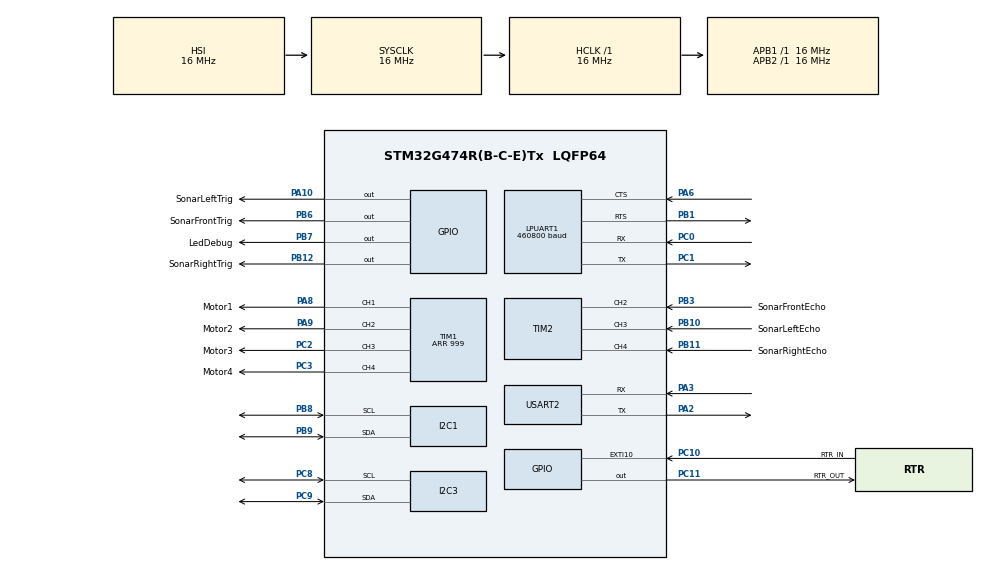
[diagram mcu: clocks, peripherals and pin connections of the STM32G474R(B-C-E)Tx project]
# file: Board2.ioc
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FREERTOS.Events01=flagsOS,Static,flagsOSControlBlock
FREERTOS.Mutexes01=controller_mutex,Static,controller_mutexControlBlock,Available;gyroscope_mutex,Static,gyroscope_mutexControlBlock,Available;sonar_left_mutex,Static,sonar_left_mutexControlBlock,Available;sonar_front_mutex,Static,sonar_front_mutexControlBlock,Available;sonar_right_mutex,Static,sonar_right_mutexControlBlock,Available;controller_read_mutex,Static,controller_read_mutexControlBlock,Available;gyroscope_read_mutex,Static,gyroscope_read_mutexControlBlock,Available;sonar_read_mutex,Static,sonar_read_mutexControlBlock,Available;controller_deadline_mutex,Static,controller_deadline_mutexControlBlock,Available;gyroscope_deadline_mutex,Static,gyroscope_deadline_mutexControlBlock,Available;sonar_deadline_mutex,Static,sonar_deadline_mutexControlBlock,Available;ps_deadline_mutex,Static,ps_deadline_mutexControlBlock,Available
FREERTOS.Tasks01=StartSegger,47,128,StartSeggerTask,Default,NULL,Static,StartSeggerBuffer,StartSeggerControlBlock;Synchronization,46,128,StartSynchronization,Default,NULL,Static,SynchronizationBuffer,SynchronizationControlBlock;PollingServer,45,2048,StartPollingServer,Default,NULL,Static,PollingServerBuffer,PollingServerControlBlock;ReadController,40,1024,StartReadController,Default,NULL,Static,ReadControllerBuffer,ReadControllerControlBlock;ReadGyroscope,32,1024,StartReadGyroscope,Default,NULL,Static,ReadGyroscopeBuffer,ReadGyroscopeControlBlock;Supervisor,24,2048,StartSupervisor,Default,NULL,Static,SupervisorBuffer,SupervisorControlBlock;SupervisorDeg,24,2048,StartSupervisorDeg,Default,NULL,Static,SupervisorDegBuffer,SupervisorDegControlBlock;ReadSonars,8,1024,StartReadSonars,Default,NULL,Static,ReadSonarsBuffer,ReadSonarsControlBlock
FREERTOS.Timers01=SonarMonitoring,SonarTimeout,osTimerOnce,Default,NULL,Static,SonarMonitoringControlBlock
FREERTOS.configUSE_NEWLIB_REENTRANT=1
I2C1.Speed=40
I2C1.Timing=0x005086FF
I2C3.Speed=40
I2C3.Timing=0x005086FF
LPUART1.BaudRate=460800
Mcu.Family=STM32G4
Mcu.Name=STM32G474R(B-C-E)Tx
Mcu.Package=LQFP64
NVIC.EXTI15_10_IRQn=true\:5\:0\:false\:false\:true\:true\:true\:true\:true
NVIC.I2C1_ER_IRQn=true\:5\:0\:false\:false\:true\:true\:true\:true\:true
NVIC.I2C1_EV_IRQn=true\:5\:0\:false\:false\:true\:true\:true\:true\:true
NVIC.I2C3_ER_IRQn=true\:5\:0\:false\:false\:true\:true\:true\:true\:true
NVIC.I2C3_EV_IRQn=true\:5\:0\:false\:false\:true\:true\:true\:true\:true
NVIC.LPUART1_IRQn=true\:5\:0\:false\:false\:true\:true\:true\:true\:true
NVIC.PriorityGroup=NVIC_PRIORITYGROUP_4
NVIC.TIM2_IRQn=true\:5\:0\:false\:false\:true\:true\:true\:true\:true
NVIC.TIM6_DAC_IRQn=true\:15\:0\:false\:false\:true\:false\:false\:true\:true
NVIC.TIM7_DAC_IRQn=true\:5\:0\:false\:false\:true\:true\:true\:true\:true
NVIC.TimeBase=TIM6_DAC_IRQn
NVIC.TimeBaseIP=TIM6
PA10.GPIO_Label=SonarLeftTrig
PA10.Signal=GPIO_Output
PA2.Mode=Asynchronous
PA2.Signal=USART2_TX
PA3.Mode=Asynchronous
PA3.Signal=USART2_RX
PA6.Mode=CTS_RTS
PA6.Signal=LPUART1_CTS
PA8.GPIO_Label=Motor1
PA8.Signal=S_TIM1_CH1
PA9.GPIO_Label=Motor2
PA9.Signal=S_TIM1_CH2
PB1.Mode=CTS_RTS
PB1.Signal=LPUART1_RTS
PB10.GPIO_Label=SonarLeftEcho
PB10.Signal=S_TIM2_CH3
PB11.GPIO_Label=SonarRightEcho
PB11.Signal=S_TIM2_CH4
PB12.GPIO_Label=SonarRightTrig
PB12.Signal=GPIO_Output
PB3.GPIO_Label=SonarFrontEcho
PB3.Signal=S_TIM2_CH2
PB6.GPIO_Label=SonarFrontTrig
PB6.Signal=GPIO_Output
PB7.GPIO_Label=LedDebug
PB7.Signal=GPIO_Output
PB8-BOOT0.GPIO_Pu=GPIO_PULLUP
PB8-BOOT0.Mode=I2C
PB8-BOOT0.Signal=I2C1_SCL
PB9.GPIO_Pu=GPIO_PULLUP
PB9.Mode=I2C
PB9.Signal=I2C1_SDA
PC0.GPIO_PuPd=GPIO_PULLUP
PC0.Mode=Asynchronous
PC0.Signal=LPUART1_RX
PC1.Mode=Asynchronous
PC1.Signal=LPUART1_TX
PC10.GPIO_Label=RTR_IN
PC10.GPIO_ModeDefaultEXTI=GPIO_MODE_IT_RISING
PC10.GPIO_PuPd=GPIO_PULLDOWN
PC10.Signal=GPXTI10
PC11.GPIO_Label=RTR_OUT
PC11.Signal=GPIO_Output
PC2.GPIO_Label=Motor3
PC2.Signal=S_TIM1_CH3
PC3.GPIO_Label=Motor4
PC3.Signal=S_TIM1_CH4
PC8.Mode=I2C
PC8.Signal=I2C3_SCL
PC9.Mode=I2C
PC9.Signal=I2C3_SDA
ProjectManager.HeapSize=0x200
ProjectManager.StackSize=0x400
ProjectManager.TargetToolchain=STM32CubeIDE
RCC.AHBFreq_Value=16000000
RCC.APB1Freq_Value=16000000
RCC.APB1TimFreq_Value=16000000
RCC.APB2Freq_Value=16000000
RCC.APB2TimFreq_Value=16000000
RCC.CortexFreq_Value=16000000
RCC.EXTERNAL_CLOCK_VALUE=12288000
RCC.HCLKFreq_Value=16000000
RCC.HSE_VALUE=8000000
RCC.HSI48_VALUE=48000000
RCC.HSI_VALUE=16000000
RCC.LSE_VALUE=32768
RCC.SYSCLKFreq_VALUE=16000000
RCC.USBFreq_Value=64000000
RCC.VCOOutputFreq_Value=128000000
SH.S_TIM1_CH1.0=TIM1_CH1,PWM Generation1 CH1
SH.S_TIM1_CH2.0=TIM1_CH2,PWM Generation2 CH2
SH.S_TIM1_CH3.0=TIM1_CH3,PWM Generation3 CH3
SH.S_TIM1_CH4.0=TIM1_CH4,PWM Generation4 CH4
SH.S_TIM2_CH2.0=TIM2_CH2,Input_Capture2_from_TI2
SH.S_TIM2_CH3.0=TIM2_CH3,Input_Capture3_from_TI3
SH.S_TIM2_CH4.0=TIM2_CH4,Input_Capture4_from_TI4
TIM1.Channel-PWM\ Generation1\ CH1=TIM_CHANNEL_1
TIM1.Channel-PWM\ Generation2\ CH2=TIM_CHANNEL_2
TIM1.Channel-PWM\ Generation3\ CH3=TIM_CHANNEL_3
TIM1.Channel-PWM\ Generation4\ CH4=TIM_CHANNEL_4
TIM1.PeriodNoDither=999
TIM1.PulseNoDither_1=757
TIM1.PulseNoDither_2=757
TIM1.PulseNoDither_3=757
TIM1.PulseNoDither_4=757
TIM2.Channel-Input_Capture2_from_TI2=TIM_CHANNEL_2
TIM2.Channel-Input_Capture3_from_TI3=TIM_CHANNEL_3
TIM2.Channel-Input_Capture4_from_TI4=TIM_CHANNEL_4
TIM7.Prescaler=65535
USART2.VirtualMode-Asynchronous=VM_ASYNC
VP_CRC_VS_CRC.Mode=CRC_Activate
VP_FREERTOS_VS_CMSIS_V2.Mode=CMSIS_V2
VP_SYS_VS_DBSignals.Mode=DisableDeadBatterySignals
VP_SYS_VS_tim6.Mode=TIM6
VP_TIM7_VS_ClockSourceINT.Mode=Enable_Timer
board=custom

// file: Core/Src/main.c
/* USER CODE BEGIN Header */
/**
 ******************************************************************************
 * @file           : main.c
 * @brief          : Main program body
 ******************************************************************************
 * @attention
 *
 * Copyright (c) 2025 STMicroelectronics.
 * All rights reserved.
 *
 * This software is licensed under terms that can be found in the LICENSE file
 * in the root directory of this software component.
 * If no LICENSE file comes with this software, it is provided AS-IS.
 *
 ******************************************************************************
 */
/* USER CODE END Header */
#include "main.h"
#include "cmsis_os.h"
#include "crc.h"
#include "i2c.h"
#include "usart.h"
#include "tim.h"
#include "gpio.h"

/* USER CODE BEGIN Includes */

/* UART Handler for communication inter board */
#include "uart_functions.h"

/* Simulink Models */
#include "Board2.h"
#include "Board2Degraded.h"

/* Drivers */
#include "pad_receiver.h"
#include "gyroscope_init.h" // #include "mpu6050.h"
#include "sonar_init.h"     // #include "HCSR04.h"
#include "motors_init.h"
/*
#include "motors_control.h"
#include "motor_constants.h"
#include "regulator.h"
*/
#include "timer.h"

/* Utility */
#include "DWT.h"
#include "print.h"
#include "debug.h"
#include "phase.h"

/* USER CODE END Includes */

/* USER CODE BEGIN PD */

#define TIM7_IN_FREQUENCY (16000000) /* 16 MHz */

/* --- DEBUG CONFIGURATIONS --- */

#if VERBOSE_DEBUG_MAIN == 1
#define PRINT_DBG(msg) printMsg(msg)
#else
#define PRINT_DBG(msg) ((void)0)
#endif
/* ---------------------------- */
/* USER CODE END PD */

/* USER CODE BEGIN PV */

volatile system_phase_t system_phase = SYNCHRONIZATION_START;

timer_t timerSupervisor;

/* USER CODE END PV */

void SystemClock_Config(void);
void MX_FREERTOS_Init(void);

int main(void)
{

  /* MCU Configuration--------------------------------------------------------*/

  /* Reset of all peripherals, Initializes the Flash interface and the Systick. */
  HAL_Init();

  /* Configure the system clock */
  SystemClock_Config();

  /* Initialize all configured peripherals */
  MX_GPIO_Init();
  MX_LPUART1_UART_Init();
  MX_USART2_UART_Init();
  MX_CRC_Init();
  MX_I2C1_Init();
  MX_TIM2_Init();
  MX_TIM1_Init();
  MX_I2C3_Init();
  MX_TIM7_Init();
  /* USER CODE BEGIN 2 */

    /* Init DWT for WCET measurement */

	DWT_Init();

	/* Set UART Handlers */

	setComunicationHandler(&hlpuart1);

	setPrinterHandler(&huart2);

#if VERBOSE_DEBUG_MAIN

	clearScreen();

#endif

	PRINT_DBG("BEGIN B2 INIT...\r\n");

	/* Init Simulink Models with default values */
	Board2_initialize();
	Board2_U.remoteController = (BUS_RemoteController ) { 0, 0, 0 };
	Board2_U.gyroscope = 0;
	Board2_U.sonar = (BUS_Sonar ) { 0, 0, 0 };
	Board2_U.areSensorsValid = 0;
	Board2_U.timeoutOccurred = 0;
	Board2_U.deadlineOccurred = 0;

	Board2Degraded_initialize();
	Board2Degraded_U.remoteController = (BUS_RemoteController ) { 0, 0, 0 };
	Board2Degraded_U.gyroscope = 0;
	Board2Degraded_U.sonar = (BUS_Sonar ) { 0, 0, 0 };
	Board2Degraded_U.areSensorsValid = 0;
	Board2Degraded_U.deadlineOccurred = 0;

	/* Init drivers */
	if (Sonar_InitAll() == 1) {
		PRINT_DBG("ERROR SONAR INIT\r\n");
	}
	StartSonarTimer();

	if (MPU6050_Init(&hi2c3) == 1) {
		PRINT_DBG("ERROR GYRO INIT\r\n");
	}

	Motors_InitAll();
	Motors_StartAllPwm();
	Motors_SetDefaultCcr(757);

	for (int i = 0; i < N_MOTORS; i++){
		MotorControl_SetReferenceRPM(&motors[i], 0.0f);
		MotorControl_OpenLoopActuate(&motors[i]);
	}

	if(timer_init(&timerSupervisor, &htim7, TIM7_IN_FREQUENCY) != TIMER_OK){return -1;}

  /* USER CODE END 2 */

  /* Init scheduler */
  osKernelInitialize();  /* Call init function for freertos objects (in cmsis_os2.c) */
  MX_FREERTOS_Init();

  /* Start scheduler */
  osKernelStart();

  /* We should never get here as control is now taken by the scheduler */

  /* Infinite loop */
	while (1) {

	}
}

void SystemClock_Config(void)
{
  RCC_OscInitTypeDef RCC_OscInitStruct = {0};
  RCC_ClkInitTypeDef RCC_ClkInitStruct = {0};

  /** Configure the main internal regulator output voltage
  */
  HAL_PWREx_ControlVoltageScaling(PWR_REGULATOR_VOLTAGE_SCALE1);

  /** Initializes the RCC Oscillators according to the specified parameters
  * in the RCC_OscInitTypeDef structure.
  */
  RCC_OscInitStruct.OscillatorType = RCC_OSCILLATORTYPE_HSI;
  RCC_OscInitStruct.HSIState = RCC_HSI_ON;
  RCC_OscInitStruct.HSICalibrationValue = RCC_HSICALIBRATION_DEFAULT;
  RCC_OscInitStruct.PLL.PLLState = RCC_PLL_NONE;
  if (HAL_RCC_OscConfig(&RCC_OscInitStruct) != HAL_OK)
  {
    Error_Handler();
  }

  /** Initializes the CPU, AHB and APB buses clocks
  */
  RCC_ClkInitStruct.ClockType = RCC_CLOCKTYPE_HCLK|RCC_CLOCKTYPE_SYSCLK
                              |RCC_CLOCKTYPE_PCLK1|RCC_CLOCKTYPE_PCLK2;
  RCC_ClkInitStruct.SYSCLKSource = RCC_SYSCLKSOURCE_HSI;
  RCC_ClkInitStruct.AHBCLKDivider = RCC_SYSCLK_DIV1;
  RCC_ClkInitStruct.APB1CLKDivider = RCC_HCLK_DIV1;
  RCC_ClkInitStruct.APB2CLKDivider = RCC_HCLK_DIV1;

  if (HAL_RCC_ClockConfig(&RCC_ClkInitStruct, FLASH_LATENCY_0) != HAL_OK)
  {
    Error_Handler();
  }
}

void HAL_TIM_PeriodElapsedCallback(TIM_HandleTypeDef *htim)
{
  if (htim->Instance == TIM6)
  {
    HAL_IncTick();
  }
  /* USER CODE BEGIN Callback 1 */
	if (htim->Instance == TIM7) {
		static uint8_t first_time = 0;

		if (first_time == 0) {
			first_time = 1;
			return;
		} else {
			timer_period_elapsed(&timerSupervisor, htim);
			Board2_U.timeoutOccurred++;
			timer_reset(&timerSupervisor);
#if VERBOSE_DEBUG_IT == 1
			printMsg("SupervisorB2 WCET exceeded!\n\n");
#endif
		}
	}

  /* USER CODE END Callback 1 */
}

void Error_Handler(void)
{
	__disable_irq();
	while (1) {
	}
}

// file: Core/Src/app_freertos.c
/* USER CODE BEGIN Header */
/*
 * This program is free software; you can redistribute it and/or modify
 * it under the terms of the GNU General Public License as published by
 * the Free Software Foundation; either version 3 of the License, or
 * (at your option) any later version.
 *
 * This program is distributed in the hope that it will be useful,
 * but WITHOUT ANY WARRANTY; without even the implied warranty of
 * MERCHANTABILITY or FITNESS FOR A PARTICULAR PURPOSE.  See the
 * GNU General Public License for more details.
 *
 * You should have received a copy of the GNU General Public License
 * along with this program. If not, see <http://www.gnu.org/licenses/>.
 */

/**
 * @file app_freertos.c
 * @brief FreeRTOS application entry point and task definitions for Board2.
 *
 * Contains all RTOS task implementations (ReadController, ReadGyroscope,
 * ReadSonars, Supervisor, Synchronization, PollingServer, Segger), timer
 * callbacks, and shared variables for the Board2 real-time control application.
 */
/* USER CODE END Header */

#include "FreeRTOS.h"
#include "task.h"
#include "main.h"
#include "cmsis_os.h"

/* USER CODE BEGIN Includes */

/* OS */
#include "scheduling_constants.h"
#include "event_flags_constant.h"
#include "sync_start.h"
#include "freeRTOS_functions.h"

/* Simulink Models */
#include "Board2.h"
#include "Board2Degraded.h"

/* Drivers */
#include "pad_receiver.h"
#include "gyroscope_init.h" // #include "mpu6050.h"
#include "sonar_init.h"     // #include "HCSR04.h"
#include "motors_init.h"
/*
#include "motors_control.h"
#include "motor_constants.h"
#include "regulator.h"
*/
#include "timer.h"

/* Utility */
#include "DWT.h"
#include "print.h"
#include "debug.h"
#include "phase.h"

/* USER CODE END Includes */

typedef StaticTask_t osStaticThreadDef_t;
typedef StaticTimer_t osStaticTimerDef_t;
typedef StaticSemaphore_t osStaticMutexDef_t;
typedef StaticEventGroup_t osStaticEventGroupDef_t;

/* USER CODE BEGIN PD */

#define MAX_WAIT_SONAR (40)

#if SEGGER_BUILD
#include "SEGGER_SYSVIEW_FreeRTOS.h"
#endif

/* USER CODE END PD */

/* USER CODE BEGIN Variables */

/* Global start tick (set after synchronization) */
/* Shared variable that does not require the use of a mutex because
 * the synchronization task writes it once at the end of synchronization,
 * and all other tasks only read it afterward.
 */
volatile uint32_t start_tick = 0;

/* MISS COUNTERS, shared variables */
volatile uint32_t MissReadController = 0;
volatile uint32_t MissReadGyroscope = 0;
volatile uint32_t MissReadSonars = 0;
volatile uint32_t MissPollingServer = 0;
// Supervisor task doesn't require a deadline

/* STATUS FLAGS, shared variables */
uint8_t pad_receiver_read_failed = 0;
uint8_t gyroscope_read_failed = 0;
uint8_t sonar_read_failed = 0;

/* DEFAULT VALUES */
const BUS_RemoteController default_controller = { 0, 0, 0 };

/* TASK OUTPUT VARIABLES, shared variables */
volatile BUS_RemoteController task_remoteController = { 0, 0, 0 };
volatile Gyroscope task_gyroscope = 0;
volatile BUS_Sonar task_sonar = { 0, 0, 0 };

/* Timer Handler from main.c */
extern timer_t timerSupervisor;

/* USER CODE END Variables */
/* Definitions for StartSegger */
osThreadId_t StartSeggerHandle;
uint32_t StartSeggerBuffer[ 128 ];
osStaticThreadDef_t StartSeggerControlBlock;
const osThreadAttr_t StartSegger_attributes = {
  .name = "StartSegger",
  .stack_mem = &StartSeggerBuffer[0],
  .stack_size = sizeof(StartSeggerBuffer),
  .cb_mem = &StartSeggerControlBlock,
  .cb_size = sizeof(StartSeggerControlBlock),
  .priority = (osPriority_t) osPriorityHigh7,
};
/* Definitions for Synchronization */
osThreadId_t SynchronizationHandle;
uint32_t SynchronizationBuffer[ 128 ];
osStaticThreadDef_t SynchronizationControlBlock;
const osThreadAttr_t Synchronization_attributes = {
  .name = "Synchronization",
  .stack_mem = &SynchronizationBuffer[0],
  .stack_size = sizeof(SynchronizationBuffer),
  .cb_mem = &SynchronizationControlBlock,
  .cb_size = sizeof(SynchronizationControlBlock),
  .priority = (osPriority_t) osPriorityHigh6,
};
/* Definitions for PollingServer */
osThreadId_t PollingServerHandle;
uint32_t PollingServerBuffer[ 2048 ];
osStaticThreadDef_t PollingServerControlBlock;
const osThreadAttr_t PollingServer_attributes = {
  .name = "PollingServer",
  .stack_mem = &PollingServerBuffer[0],
  .stack_size = sizeof(PollingServerBuffer),
  .cb_mem = &PollingServerControlBlock,
  .cb_size = sizeof(PollingServerControlBlock),
  .priority = (osPriority_t) osPriorityHigh5,
};
/* Definitions for ReadController */
osThreadId_t ReadControllerHandle;
uint32_t ReadControllerBuffer[ 1024 ];
osStaticThreadDef_t ReadControllerControlBlock;
const osThreadAttr_t ReadController_attributes = {
  .name = "ReadController",
  .stack_mem = &ReadControllerBuffer[0],
  .stack_size = sizeof(ReadControllerBuffer),
  .cb_mem = &ReadControllerControlBlock,
  .cb_size = sizeof(ReadControllerControlBlock),
  .priority = (osPriority_t) osPriorityHigh,
};
/* Definitions for ReadGyroscope */
osThreadId_t ReadGyroscopeHandle;
uint32_t ReadGyroscopeBuffer[ 1024 ];
osStaticThreadDef_t ReadGyroscopeControlBlock;
const osThreadAttr_t ReadGyroscope_attributes = {
  .name = "ReadGyroscope",
  .stack_mem = &ReadGyroscopeBuffer[0],
  .stack_size = sizeof(ReadGyroscopeBuffer),
  .cb_mem = &ReadGyroscopeControlBlock,
  .cb_size = sizeof(ReadGyroscopeControlBlock),
  .priority = (osPriority_t) osPriorityAboveNormal,
};
/* Definitions for Supervisor */
osThreadId_t SupervisorHandle;
uint32_t SupervisorBuffer[ 2048 ];
osStaticThreadDef_t SupervisorControlBlock;
const osThreadAttr_t Supervisor_attributes = {
  .name = "Supervisor",
  .stack_mem = &SupervisorBuffer[0],
  .stack_size = sizeof(SupervisorBuffer),
  .cb_mem = &SupervisorControlBlock,
  .cb_size = sizeof(SupervisorControlBlock),
  .priority = (osPriority_t) osPriorityNormal,
};
/* Definitions for SupervisorDeg */
osThreadId_t SupervisorDegHandle;
uint32_t SupervisorDegBuffer[ 2048 ];
osStaticThreadDef_t SupervisorDegControlBlock;
const osThreadAttr_t SupervisorDeg_attributes = {
  .name = "SupervisorDeg",
  .stack_mem = &SupervisorDegBuffer[0],
  .stack_size = sizeof(SupervisorDegBuffer),
  .cb_mem = &SupervisorDegControlBlock,
  .cb_size = sizeof(SupervisorDegControlBlock),
  .priority = (osPriority_t) osPriorityNormal,
};
/* Definitions for ReadSonars */
osThreadId_t ReadSonarsHandle;
uint32_t ReadSonarsBuffer[ 1024 ];
osStaticThreadDef_t ReadSonarsControlBlock;
const osThreadAttr_t ReadSonars_attributes = {
  .name = "ReadSonars",
  .stack_mem = &ReadSonarsBuffer[0],
  .stack_size = sizeof(ReadSonarsBuffer),
  .cb_mem = &ReadSonarsControlBlock,
  .cb_size = sizeof(ReadSonarsControlBlock),
  .priority = (osPriority_t) osPriorityLow,
};
/* Definitions for SonarMonitoring */
osTimerId_t SonarMonitoringHandle;
osStaticTimerDef_t SonarMonitoringControlBlock;
const osTimerAttr_t SonarMonitoring_attributes = {
  .name = "SonarMonitoring",
  .cb_mem = &SonarMonitoringControlBlock,
  .cb_size = sizeof(SonarMonitoringControlBlock),
};
/* Definitions for controller_mutex */
osMutexId_t controller_mutexHandle;
osStaticMutexDef_t controller_mutexControlBlock;
const osMutexAttr_t controller_mutex_attributes = {
  .name = "controller_mutex",
  .cb_mem = &controller_mutexControlBlock,
  .cb_size = sizeof(controller_mutexControlBlock),
};
/* Definitions for gyroscope_mutex */
osMutexId_t gyroscope_mutexHandle;
osStaticMutexDef_t gyroscope_mutexControlBlock;
const osMutexAttr_t gyroscope_mutex_attributes = {
  .name = "gyroscope_mutex",
  .cb_mem = &gyroscope_mutexControlBlock,
  .cb_size = sizeof(gyroscope_mutexControlBlock),
};
/* Definitions for sonar_left_mutex */
osMutexId_t sonar_left_mutexHandle;
osStaticMutexDef_t sonar_left_mutexControlBlock;
const osMutexAttr_t sonar_left_mutex_attributes = {
  .name = "sonar_left_mutex",
  .cb_mem = &sonar_left_mutexControlBlock,
  .cb_size = sizeof(sonar_left_mutexControlBlock),
};
/* Definitions for sonar_front_mutex */
osMutexId_t sonar_front_mutexHandle;
osStaticMutexDef_t sonar_front_mutexControlBlock;
const osMutexAttr_t sonar_front_mutex_attributes = {
  .name = "sonar_front_mutex",
  .cb_mem = &sonar_front_mutexControlBlock,
  .cb_size = sizeof(sonar_front_mutexControlBlock),
};
/* Definitions for sonar_right_mutex */
osMutexId_t sonar_right_mutexHandle;
osStaticMutexDef_t sonar_right_mutexControlBlock;
const osMutexAttr_t sonar_right_mutex_attributes = {
  .name = "sonar_right_mutex",
  .cb_mem = &sonar_right_mutexControlBlock,
  .cb_size = sizeof(sonar_right_mutexControlBlock),
};
/* Definitions for controller_read_mutex */
osMutexId_t controller_read_mutexHandle;
osStaticMutexDef_t controller_read_mutexControlBlock;
const osMutexAttr_t controller_read_mutex_attributes = {
  .name = "controller_read_mutex",
  .cb_mem = &controller_read_mutexControlBlock,
  .cb_size = sizeof(controller_read_mutexControlBlock),
};
/* Definitions for gyroscope_read_mutex */
osMutexId_t gyroscope_read_mutexHandle;
osStaticMutexDef_t gyroscope_read_mutexControlBlock;
const osMutexAttr_t gyroscope_read_mutex_attributes = {
  .name = "gyroscope_read_mutex",
  .cb_mem = &gyroscope_read_mutexControlBlock,
  .cb_size = sizeof(gyroscope_read_mutexControlBlock),
};
/* Definitions for sonar_read_mutex */
osMutexId_t sonar_read_mutexHandle;
osStaticMutexDef_t sonar_read_mutexControlBlock;
const osMutexAttr_t sonar_read_mutex_attributes = {
  .name = "sonar_read_mutex",
  .cb_mem = &sonar_read_mutexControlBlock,
  .cb_size = sizeof(sonar_read_mutexControlBlock),
};
/* Definitions for controller_deadline_mutex */
osMutexId_t controller_deadline_mutexHandle;
osStaticMutexDef_t controller_deadline_mutexControlBlock;
const osMutexAttr_t controller_deadline_mutex_attributes = {
  .name = "controller_deadline_mutex",
  .cb_mem = &controller_deadline_mutexControlBlock,
  .cb_size = sizeof(controller_deadline_mutexControlBlock),
};
/* Definitions for gyroscope_deadline_mutex */
osMutexId_t gyroscope_deadline_mutexHandle;
osStaticMutexDef_t gyroscope_deadline_mutexControlBlock;
const osMutexAttr_t gyroscope_deadline_mutex_attributes = {
  .name = "gyroscope_deadline_mutex",
  .cb_mem = &gyroscope_deadline_mutexControlBlock,
  .cb_size = sizeof(gyroscope_deadline_mutexControlBlock),
};
/* Definitions for sonar_deadline_mutex */
osMutexId_t sonar_deadline_mutexHandle;
osStaticMutexDef_t sonar_deadline_mutexControlBlock;
const osMutexAttr_t sonar_deadline_mutex_attributes = {
  .name = "sonar_deadline_mutex",
  .cb_mem = &sonar_deadline_mutexControlBlock,
  .cb_size = sizeof(sonar_deadline_mutexControlBlock),
};
/* Definitions for ps_deadline_mutex */
osMutexId_t ps_deadline_mutexHandle;
osStaticMutexDef_t ps_deadline_mutexControlBlock;
const osMutexAttr_t ps_deadline_mutex_attributes = {
  .name = "ps_deadline_mutex",
  .cb_mem = &ps_deadline_mutexControlBlock,
  .cb_size = sizeof(ps_deadline_mutexControlBlock),
};
/* Definitions for flagsOS */
osEventFlagsId_t flagsOSHandle;
osStaticEventGroupDef_t flagsOSControlBlock;
const osEventFlagsAttr_t flagsOS_attributes = {
  .name = "flagsOS",
  .cb_mem = &flagsOSControlBlock,
  .cb_size = sizeof(flagsOSControlBlock),
};

/* USER CODE BEGIN FunctionPrototypes */

/* SCHEDULING FUNCTIONS */
static uint32_t ms_to_ticks(uint32_t ms);
static void periodic_wait(uint32_t *next_release, uint32_t period_ticks,
		volatile uint32_t *miss_counter, osMutexId_t miss_mutex);

/* DECISION FUNCTIONS */
static inline void compute_sensors_validity(uint8_t *out_validity);
static inline void compute_deadline_misses(uint8_t *out_deadline);
static inline void copy_sensor_inputs(BUS_RemoteController *out_rc,
		Gyroscope *out_gyro, BUS_Sonar *out_sonar);
static inline void change_set_point(void);

/* ERROR DRIVER FUNCTIONS */
static inline void error_pad_receiver(void);
static inline void error_gyroscope(void);
static inline void error_sonar(void);

/* PRODUCTION FUNCTIONS */
static inline void manage_fake_sonar_toggle(BUS_RemoteController *rc, BUS_Sonar *sonar);

/* USER CODE END FunctionPrototypes */

void StartSeggerTask(void *argument);
void StartSynchronization(void *argument);
void StartPollingServer(void *argument);
void StartReadController(void *argument);
void StartReadGyroscope(void *argument);
void StartSupervisor(void *argument);
void StartSupervisorDeg(void *argument);
void StartReadSonars(void *argument);
void SonarTimeout(void *argument);

void MX_FREERTOS_Init(void); /* (MISRA C 2004 rule 8.1) */

void MX_FREERTOS_Init(void) {
  /* Create the mutex(es) */
  /* creation of controller_mutex */
  controller_mutexHandle = osMutexNew(&controller_mutex_attributes);

  /* creation of gyroscope_mutex */
  gyroscope_mutexHandle = osMutexNew(&gyroscope_mutex_attributes);

  /* creation of sonar_left_mutex */
  sonar_left_mutexHandle = osMutexNew(&sonar_left_mutex_attributes);

  /* creation of sonar_front_mutex */
  sonar_front_mutexHandle = osMutexNew(&sonar_front_mutex_attributes);

  /* creation of sonar_right_mutex */
  sonar_right_mutexHandle = osMutexNew(&sonar_right_mutex_attributes);

  /* creation of controller_read_mutex */
  controller_read_mutexHandle = osMutexNew(&controller_read_mutex_attributes);

  /* creation of gyroscope_read_mutex */
  gyroscope_read_mutexHandle = osMutexNew(&gyroscope_read_mutex_attributes);

  /* creation of sonar_read_mutex */
  sonar_read_mutexHandle = osMutexNew(&sonar_read_mutex_attributes);

  /* creation of controller_deadline_mutex */
  controller_deadline_mutexHandle = osMutexNew(&controller_deadline_mutex_attributes);

  /* creation of gyroscope_deadline_mutex */
  gyroscope_deadline_mutexHandle = osMutexNew(&gyroscope_deadline_mutex_attributes);

  /* creation of sonar_deadline_mutex */
  sonar_deadline_mutexHandle = osMutexNew(&sonar_deadline_mutex_attributes);

  /* creation of ps_deadline_mutex */
  ps_deadline_mutexHandle = osMutexNew(&ps_deadline_mutex_attributes);

  /* Create the timer(s) */
  /* creation of SonarMonitoring */
  SonarMonitoringHandle = osTimerNew(SonarTimeout, osTimerOnce, NULL, &SonarMonitoring_attributes);

  /* USER CODE BEGIN RTOS_TIMERS */
	timer_set_period(&timerSupervisor, WCET_SUPERVISOR_MS);
  /* USER CODE END RTOS_TIMERS */

  /* Create the thread(s) */
  /* creation of StartSegger */
  StartSeggerHandle = osThreadNew(StartSeggerTask, NULL, &StartSegger_attributes);

  /* creation of Synchronization */
  SynchronizationHandle = osThreadNew(StartSynchronization, NULL, &Synchronization_attributes);

  /* creation of PollingServer */
  PollingServerHandle = osThreadNew(StartPollingServer, NULL, &PollingServer_attributes);

  /* creation of ReadController */
  ReadControllerHandle = osThreadNew(StartReadController, NULL, &ReadController_attributes);

  /* creation of ReadGyroscope */
  ReadGyroscopeHandle = osThreadNew(StartReadGyroscope, NULL, &ReadGyroscope_attributes);

  /* creation of Supervisor */
  SupervisorHandle = osThreadNew(StartSupervisor, NULL, &Supervisor_attributes);

  /* creation of SupervisorDeg */
  SupervisorDegHandle = osThreadNew(StartSupervisorDeg, NULL, &SupervisorDeg_attributes);

  /* creation of ReadSonars */
  ReadSonarsHandle = osThreadNew(StartReadSonars, NULL, &ReadSonars_attributes);

  /* creation of flagsOS */
  flagsOSHandle = osEventFlagsNew(&flagsOS_attributes);

  /* USER CODE BEGIN RTOS_EVENTS */
	Sync_Init(flagsOSHandle,
				RTR_IN_GPIO_Port, RTR_IN_Pin,
	            RTR_OUT_GPIO_Port, RTR_OUT_Pin,
	            FLAG_START, FLAG_SYNC, FLAG_ACK);
  /* USER CODE END RTOS_EVENTS */

}

void StartSeggerTask(void *argument)
{
  /* USER CODE BEGIN StartSeggerTask */

#if SEGGER_BUILD
	SEGGER_SYSVIEW_Conf();
	SEGGER_SYSVIEW_Start();
	#endif

	/* Infinite loop */
	for (;;) {
		break;
	}
	osThreadTerminate(osThreadGetId());

  /* USER CODE END StartSeggerTask */
}

/* USER CODE BEGIN Header_StartSynchronization */
// This feature is extern to the library behavior
extern volatile system_phase_t system_phase;
/**
 * @brief Function implementing the Synchronization thread.
 * @param argument: Not used
 * @retval None
 */
/* USER CODE END Header_StartSynchronization */
void StartSynchronization(void *argument)
{
  /* USER CODE BEGIN StartSynchronization */
#if RUN_SYNCHRONIZATION

	system_phase = SYNCHRONIZATION_START;

	SyncThread();

	/* Synchronization completed: define common time-base for periodic tasks */
	start_tick = osKernelGetTickCount();

	system_phase = SYNCHRONIZATION_SUPERVISOR;

	HAL_GPIO_WritePin(RTR_OUT_GPIO_Port, RTR_OUT_Pin, GPIO_PIN_RESET);

	#if LED_DEBUG
	HAL_GPIO_WritePin(LedDebug_GPIO_Port, LedDebug_Pin, GPIO_PIN_SET);
	#endif

#endif

	// Termination, if clock drift is not critical
	osThreadTerminate(osThreadGetId());

  /* USER CODE END StartSynchronization */
}

void StartPollingServer(void *argument)
{
  /* USER CODE BEGIN StartPollingServer */
#if RUN_POLLING_SERVER

    Sync_WaitStart();

    const uint32_t T = ms_to_ticks(T_POLLING_SERVER);
	uint32_t next = start_tick;

    /* Infinite loop */
    for (;;) {

#if REAL_TASK

        /* Upon server activation, process all pending requests, if any */
        uint32_t flags = osEventFlagsWait(flagsOSHandle,
        FLAGS_POLLING_SERVER_WAIT,
        osFlagsWaitAny | osFlagsNoClear, 0);

        if ((int32_t) flags > 0) {

            /* ---------------- REMOTE CONTROLLER ---------------- */
            if (flags & FLAG_PAD_OK) {

                BUS_RemoteController rc_val = { 0, 0, 0 };
                PadReceiver_Read(&rc_val);

                osMutexAcquire(controller_mutexHandle, osWaitForever);
                task_remoteController = rc_val;
                osMutexRelease(controller_mutexHandle);

                osMutexAcquire(controller_read_mutexHandle, osWaitForever);
                pad_receiver_read_failed = 0;
                osMutexRelease(controller_read_mutexHandle);

                // Clear both to prioritize OK and prevent double handling
                osEventFlagsClear(flagsOSHandle, FLAG_PAD_OK | FLAG_PAD_ERROR);
            }
            else if (flags & FLAG_PAD_ERROR) {
                error_pad_receiver();
                osEventFlagsClear(flagsOSHandle, FLAG_PAD_ERROR);
            }

            /* ------------------- GYROSCOPE ------------------- */
            if (flags & FLAG_GYRO_OK) {
                MPU6050_Process_Yaw_IT_Data();

                Gyroscope gyro_val = MPU6050_Yaw.KalmanAngleZ;

                osMutexAcquire(gyroscope_mutexHandle, osWaitForever);
                task_gyroscope = gyro_val;
                osMutexRelease(gyroscope_mutexHandle);

                osMutexAcquire(gyroscope_read_mutexHandle, osWaitForever);
                gyroscope_read_failed = 0;
                osMutexRelease(gyroscope_read_mutexHandle);

                osEventFlagsClear(flagsOSHandle, FLAG_GYRO_OK | FLAG_GYRO_ERROR);
            }
            else if (flags & FLAG_GYRO_ERROR) {
                error_gyroscope();
                osEventFlagsClear(flagsOSHandle, FLAG_GYRO_ERROR);
            }

            /* ------------------ SONAR LEFT ------------------- */
            if (flags & FLAG_SONAR_LEFT_OK) {
                hcsr04_process_distance(&sonarLeft);

                osMutexAcquire(sonar_left_mutexHandle, osWaitForever);
                task_sonar.left = sonarLeft.distance;
                osMutexRelease(sonar_left_mutexHandle);

                osEventFlagsClear(flagsOSHandle, FLAG_SONAR_LEFT_OK | FLAG_SONAR_LEFT_TIMEOUT);
            }
            else if (flags & FLAG_SONAR_LEFT_TIMEOUT) {
                hcsr04_reset_sonar(&sonarLeft);
                osEventFlagsClear(flagsOSHandle, FLAG_SONAR_LEFT_TIMEOUT);
            }

            /* ------------------ SONAR FRONT ------------------ */
            if (flags & FLAG_SONAR_FRONT_OK) {
                hcsr04_process_distance(&sonarFront);

                osMutexAcquire(sonar_front_mutexHandle, osWaitForever);
                task_sonar.front = sonarFront.distance;
                osMutexRelease(sonar_front_mutexHandle);

                osEventFlagsClear(flagsOSHandle, FLAG_SONAR_FRONT_OK | FLAG_SONAR_FRONT_TIMEOUT);
            }
            else if (flags & FLAG_SONAR_FRONT_TIMEOUT) {
                hcsr04_reset_sonar(&sonarFront);
                osEventFlagsClear(flagsOSHandle, FLAG_SONAR_FRONT_TIMEOUT);
            }

            /* ------------------ SONAR RIGHT ------------------ */
            if (flags & FLAG_SONAR_RIGHT_OK) {
                hcsr04_process_distance(&sonarRight);

                osMutexAcquire(sonar_right_mutexHandle, osWaitForever);
                task_sonar.right = sonarRight.distance;
                osMutexRelease(sonar_right_mutexHandle);

                osEventFlagsClear(flagsOSHandle, FLAG_SONAR_RIGHT_OK | FLAG_SONAR_RIGHT_TIMEOUT);
            }
            else if (flags & FLAG_SONAR_RIGHT_TIMEOUT) {
                hcsr04_reset_sonar(&sonarRight);
                osEventFlagsClear(flagsOSHandle, FLAG_SONAR_RIGHT_TIMEOUT);
            }

        }
#if PRINT_TASK
		static uint32_t cycle_count = 0;
		cycle_count++;

		if (cycle_count >= 100) {

		printSonar(&Board2_U.sonar);
		cycle_count = 0;
		}
#endif

#else
        task_remoteController = (BUS_RemoteController){ 0, 0, 0 };
        task_gyroscope = 32;
        task_sonar = (BUS_Sonar){ 380, 400, 380 };
		DWT_DelayUs(WCET_POLLING_SERVER);
#endif

#endif

        periodic_wait(&next, T, &MissPollingServer, ps_deadline_mutexHandle);

    }

    osThreadTerminate(osThreadGetId());

  /* USER CODE END StartPollingServer */
}

void StartReadController(void *argument)
{
  /* USER CODE BEGIN StartReadController */
#if RUN_READ_CONTROLLER

	Sync_WaitStart();

	const uint32_t T = ms_to_ticks(T_REMOTE_CONTROLLER);
	uint32_t next = start_tick;

	/* Return code of the last I2C request:
	 * PAD_OK  -> request started successfully (asynchronous reception in progress)
	 * PAD_ERR -> request not started (I2C busy or HAL start error)
	 */
	int8_t result = PAD_ERR;

	/* Infinite loop */
	for (;;) {

#if REAL_TASK

		/* Start an asynchronous I2C read from the remote controller.
		 * Note: PAD_OK only means the reception was successfully started.
		 * The final outcome (success/error) is reported later via callbacks
		 * and can be eventually checked through PadReceiver_GetStatus().
		 */
		result = PadReceiver_Request();

		/* Handle immediate start failure:
		 * If the request could not be started (bus busy or HAL error),
		 * raise an error flag to notify other tasks/components.
		 */
		if (result == PAD_ERR) {
            error_pad_receiver();
			// osEventFlagsSet(flagsOSHandle, FLAG_PAD_ERROR);
            // No need to use the Polling Server for error handling
		}

#else
		DWT_DelayUs(WCET_CONTROLLER);
#endif

		/* Wait until next period and track deadline miss if any */
		periodic_wait(&next, T, &MissReadController, controller_deadline_mutexHandle);
	}
#endif

	osThreadTerminate(osThreadGetId());

  /* USER CODE END StartReadController */
}

void StartReadGyroscope(void *argument)
{
  /* USER CODE BEGIN StartReadGyroscope */
#if RUN_READ_GYROSCOPE

	Sync_WaitStart();

	const uint32_t T = ms_to_ticks(T_GYROSCOPE);
	uint32_t next = start_tick;

	/* Return code of the last gyroscope read request:
	 * MPU_OK  -> request started successfully (asynchronous I2C reception in progress)
	 * MPU_ERR -> request not started (I2C busy or HAL start error)
	 *
	 * Note: MPU_OK does NOT mean that MPU6050_Yaw has been updated yet.
	 * The final outcome is provided later by callbacks / driver status.
	 */
	int8_t result = MPU_ERR;

	/* Infinite loop */
	for (;;) {

#if REAL_TASK

		/* Start an asynchronous read of the yaw value from the MPU6050 via I2C interrupt.
		 * If the request starts correctly, the driver will update MPU6050_Yaw later
		 * (typically in the Rx complete callback).
		 */
		result = MPU6050_Read_Yaw_IT(&hi2c3, &MPU6050_Yaw);

		/* Handle immediate start failure:
		 * If the read request cannot be started (bus busy or HAL error),
		 * raise an error flag to notify other tasks/components.
		 */
		if (result == MPU_ERR) {
			error_gyroscope();
			// osEventFlagsSet(flagsOSHandle, FLAG_GYRO_ERROR);
			// No need to use the Polling Server for error handling
		}

#else
		DWT_DelayUs(WCET_GYROSCOPE);
#endif

		/* Wait until next period and track deadline miss if any */
		periodic_wait(&next, T, &MissReadGyroscope, gyroscope_deadline_mutexHandle);
	}
#endif
	osThreadTerminate(osThreadGetId());

  /* USER CODE END StartReadGyroscope */
}

void StartSupervisor(void *argument)
{
  /* USER CODE BEGIN StartSupervisor */
#if RUN_SUPERVISOR

	/* Infinite loop */
	for (;;) {

        osEventFlagsWait(flagsOSHandle,FLAGS_SUPERVISOR_WAIT,osFlagsWaitAny, osWaitForever);

		/* Copy task variables into Simulink model inputs */
		copy_sensor_inputs(&Board2_U.remoteController,
				&Board2_U.gyroscope, &Board2_U.sonar);
		compute_sensors_validity(&Board2_U.areSensorsValid);
		compute_deadline_misses(&Board2_U.deadlineOccurred);

		manage_fake_sonar_toggle(&Board2_U.remoteController, &Board2_U.sonar);

	    system_phase = WORKING_PHASE;

		/* Abort checks */
//		Board2_U.areSensorsValid = 0;
//		Board2_U.deadlineOccurred = 0;

#if PRINT_RESULT
		do {
			Board2_step();
		} while (Board2_Y.supervision_ended != 1);
#else
		/* START TIMER FOR MONITORING WCET */
		timer_start(&timerSupervisor);

		do {
			Board2_step();
		} while (Board2_Y.supervision_ended != 1);

		/* STOP TIMER FOR MONITORING WCET */
		timer_reset(&timerSupervisor);
#endif

		system_phase = SYNCHRONIZATION_SUPERVISOR;

		/* BEGIN PRINT SECTION */

		static uint32_t cycle_count = 0;
		cycle_count++;

//		printMsg("Cycle Count B2: ");
//		printInt((int32_t)cycle_count);
//		printNewLine();

		if (cycle_count >= 100) { // Approx 2 seconds (50ms * 40)
#if PRINT_RESULT
			printGlobalState(&Board2_Y.board2GlobalState);
			printDecision(&Board2_Y.board2Decision);
#endif
			cycle_count = 0;
		}

		/* END PRINT SECTION */

	}
#endif

	osThreadTerminate(osThreadGetId());

  /* USER CODE END StartSupervisor */
}

void StartSupervisorDeg(void *argument)
{
  /* USER CODE BEGIN StartSupervisorDeg */

	osEventFlagsWait(flagsOSHandle, FLAG_DEGRADED, osFlagsWaitAny, osWaitForever);

	const uint32_t T = ms_to_ticks(T_SUPERVISOR);
	uint32_t next = start_tick;

	/* Sleep until next release after supervisor unlock */
	periodic_wait(&next, T, NULL, NULL);

	/* Infinite loop */
	for (;;) {

		/* Copy task variables into Simulink model inputs */
		copy_sensor_inputs(&Board2Degraded_U.remoteController,
				&Board2Degraded_U.gyroscope, &Board2Degraded_U.sonar);
		compute_sensors_validity(&Board2Degraded_U.areSensorsValid);
		compute_deadline_misses(&Board2Degraded_U.deadlineOccurred);

		/* Abort checks */
//		Board2Degraded_U.areSensorsValid = 0;
//		Board2Degraded_U.deadlineOccurred = 0;

		manage_fake_sonar_toggle(&Board2Degraded_U.remoteController, &Board2Degraded_U.sonar);

		do {
			Board2Degraded_step();
		} while (Board2Degraded_Y.supervision_ended != 1);

		/* BEGIN PRINT SECTION */

		static uint32_t cycle_count = 0;
		cycle_count++;

//
//		printMsg("Cycle Count B2: ");
//		printInt((int32_t)cycle_count);
//		printNewLine();
//
		if (cycle_count >= 100) { // Approx 2 seconds (50ms * 40)
			printLocalStateB2(&Board2Degraded_B.board2LocalState);
			printSetPoint(&Board2Degraded_Y.setPoint);
			cycle_count = 0;
		}

		/* END PRINT SECTION */

		change_set_point();
		for (int i = 0; i < N_MOTORS; i++){
			MotorControl_OpenLoopActuate(&motors[i]);
		}

		periodic_wait(&next, T, NULL, NULL);
	}

	osThreadTerminate(osThreadGetId());

  /* USER CODE END StartSupervisorDeg */
}

void StartReadSonars(void *argument)
{
  /* USER CODE BEGIN StartReadSonars */
#if RUN_READ_SONARS

	Sync_WaitStart();

	const uint32_t T = ms_to_ticks(T_SONAR);
	uint32_t next = start_tick;

	const uint32_t TIMEOUT_TICKS = ms_to_ticks(MAX_WAIT_SONAR);
	/* Infinite loop */
	for (;;) {

#if REAL_TASK

		hcsr04_trigger(&sonarLeft);
		hcsr04_trigger(&sonarFront);
		hcsr04_trigger(&sonarRight);

		/* Safe stop and start timer */
#if SEGGER_BUILD == 0 //pezzotto per evitare conflitti con SysView
		osTimerStop(SonarMonitoringHandle);
		osTimerStart(SonarMonitoringHandle, TIMEOUT_TICKS);
#endif

#else
		DWT_DelayUs(WCET_SONAR);
#endif

		/* Wait until next period and track deadline miss if any */
		periodic_wait(&next, T, &MissReadSonars, sonar_deadline_mutexHandle);
	}

#endif

	osThreadTerminate(osThreadGetId());
  /* USER CODE END StartReadSonars */
}

/* SonarTimeout function */
void SonarTimeout(void *argument)
{
  /* USER CODE BEGIN SonarTimeout */
	// Check each sonar and set timeout flags if not done
	if (!hcsr04_is_done(&sonarLeft)) {
		osEventFlagsSet(flagsOSHandle, FLAG_SONAR_LEFT_TIMEOUT);
	}
	if (!hcsr04_is_done(&sonarFront)) {
		osEventFlagsSet(flagsOSHandle, FLAG_SONAR_FRONT_TIMEOUT);
	}
	if (!hcsr04_is_done(&sonarRight)) {
		osEventFlagsSet(flagsOSHandle, FLAG_SONAR_RIGHT_TIMEOUT);
	}
  /* USER CODE END SonarTimeout */
}

/* USER CODE BEGIN Application */

/* SCHEDULING FUNCTIONS */

static uint32_t ms_to_ticks(uint32_t ms) {
	uint32_t hz = osKernelGetTickFreq();
	return (ms * hz + 999u) / 1000u;
}

static void periodic_wait(uint32_t *next_release, uint32_t period_ticks,
		volatile uint32_t *miss_counter, osMutexId_t miss_mutex) {
	uint32_t now = osKernelGetTickCount();

	/* Calcola il prossimo rilascio */
	*next_release += period_ticks;

	/* Controllo deadline miss (safe con wrap-around) */
	if ((int32_t) (now - *next_release) > 0) {
		if (miss_counter != NULL) {
			if (miss_mutex != NULL) {
				osMutexAcquire(miss_mutex, osWaitForever);
			}
			(*miss_counter)++;
			if (miss_mutex != NULL) {
				osMutexRelease(miss_mutex);
			}
		}
	}

	/* Sleep assoluta fino al prossimo periodo */
	osDelayUntil(*next_release);
}

/* DECISION FUNCTIONS */

static inline void compute_sensors_validity(uint8_t *out_validity) {
	/* Convert singular errors into global flags for the Simulink model */
	uint8_t temp = 0;

	osMutexAcquire(controller_read_mutexHandle, osWaitForever);
	temp |= (pad_receiver_read_failed & 0x01) << 0;
	pad_receiver_read_failed = 0;
	osMutexRelease(controller_read_mutexHandle);

	osMutexAcquire(gyroscope_read_mutexHandle, osWaitForever);
	temp |= (gyroscope_read_failed    & 0x01) << 1;
	gyroscope_read_failed = 0;
	osMutexRelease(gyroscope_read_mutexHandle);

	osMutexAcquire(sonar_read_mutexHandle, osWaitForever);
	temp |= (sonar_read_failed        & 0x01) << 2;
	sonar_read_failed = 0;
	osMutexRelease(sonar_read_mutexHandle);

	*out_validity = temp;
}

static inline void compute_deadline_misses(uint8_t *out_deadline) {
	/* Convert non-zero miss counters into a bitmask for the Simulink model */
	uint8_t temp = 0;

	osMutexAcquire(controller_deadline_mutexHandle, osWaitForever);
	if (MissReadController != 0) {
		temp |= (1u << 0);
		MissReadController = 0;
	}
	osMutexRelease(controller_deadline_mutexHandle);

	osMutexAcquire(gyroscope_deadline_mutexHandle, osWaitForever);
	if (MissReadGyroscope != 0) {
		temp |= (1u << 1);
		MissReadGyroscope = 0;
	}
	osMutexRelease(gyroscope_deadline_mutexHandle);

	osMutexAcquire(sonar_deadline_mutexHandle, osWaitForever);
	if (MissReadSonars != 0) {
		temp |= (1u << 3);
		MissReadSonars = 0;
	}
	osMutexRelease(sonar_deadline_mutexHandle);

	osMutexAcquire(ps_deadline_mutexHandle, osWaitForever);
	if (MissPollingServer != 0) {
		temp |= (1u << 4);
		MissPollingServer = 0;
	}
	osMutexRelease(ps_deadline_mutexHandle);

	*out_deadline = temp;
}

static inline void copy_sensor_inputs(BUS_RemoteController *out_rc,
		Gyroscope *out_gyro, BUS_Sonar *out_sonar) {
	osMutexAcquire(controller_mutexHandle, osWaitForever);
	*out_rc = task_remoteController;
	osMutexRelease(controller_mutexHandle);

	osMutexAcquire(gyroscope_mutexHandle, osWaitForever);
	*out_gyro = task_gyroscope;
	osMutexRelease(gyroscope_mutexHandle);

	osMutexAcquire(sonar_left_mutexHandle, osWaitForever);
	out_sonar->left = task_sonar.left;
	osMutexRelease(sonar_left_mutexHandle);

	osMutexAcquire(sonar_front_mutexHandle, osWaitForever);
	out_sonar->front = task_sonar.front;
	osMutexRelease(sonar_front_mutexHandle);

	osMutexAcquire(sonar_right_mutexHandle, osWaitForever);
	out_sonar->right = task_sonar.right;
	osMutexRelease(sonar_right_mutexHandle);
}

static inline void change_set_point(void) {
	const float left = Board2Degraded_Y.setPoint.leftAxis;
	const float right = Board2Degraded_Y.setPoint.rightAxis;

	MotorControl_SetReferenceRPM(&motors[MOTOR_FRONT_LEFT], left);
	MotorControl_SetReferenceRPM(&motors[MOTOR_REAR_LEFT], left);

	MotorControl_SetReferenceRPM(&motors[MOTOR_FRONT_RIGHT], right);
	MotorControl_SetReferenceRPM(&motors[MOTOR_REAR_RIGHT], right);
}

/* ERROR DRIVER FUNCTIONS */
static inline void error_pad_receiver(void){
	osMutexAcquire(controller_mutexHandle, osWaitForever);
	task_remoteController = default_controller;
	osMutexRelease(controller_mutexHandle);

	osMutexAcquire(controller_read_mutexHandle, osWaitForever);
	pad_receiver_read_failed = 1;
	osMutexRelease(controller_read_mutexHandle);
}

static inline void error_gyroscope(void){
	// task_gyroscope: Preserve last valid data (no write needed)

	osMutexAcquire(gyroscope_read_mutexHandle, osWaitForever);
	gyroscope_read_failed = 1;
	osMutexRelease(gyroscope_read_mutexHandle);
}
static inline void error_sonar(void){
	osMutexAcquire(sonar_read_mutexHandle, osWaitForever);
	sonar_read_failed = 1;
	osMutexRelease(sonar_read_mutexHandle);
}

/* PRODUCTION FUNCTIONS */
static inline void manage_fake_sonar_toggle(BUS_RemoteController *rc, BUS_Sonar *sonar) {
	/* FAKE SONAR */
	#include "controller_masks.h"

	static uint16_t previousButtons = 0;

	// 0 = enabled, 1 = disabled
	static uint8_t disable_left = 0;
	static uint8_t disable_front = 0;
	static uint8_t disable_right = 0;

	uint32_t current = rc->buttons;
	uint32_t risingEdges = (~previousButtons) & current;

	/* Toggle su fronte di salita */
	if (risingEdges & DISABLE_LEFT_SONAR)
		disable_left = !disable_left;

	if (risingEdges & DISABLE_FRONT_SONAR)
		disable_front = !disable_front;

	if (risingEdges & DISABLE_RIGHT_SONAR)
		disable_right = !disable_right;

	/* Applica disabilitazione */
	if (disable_left)
		sonar->left = 380;

	if (disable_front)
		sonar->front = 380;

	if (disable_right)
		sonar->right = 380;

	previousButtons = current;

	/* END FAKE SONAR */
}

/* USER CODE END Application */
